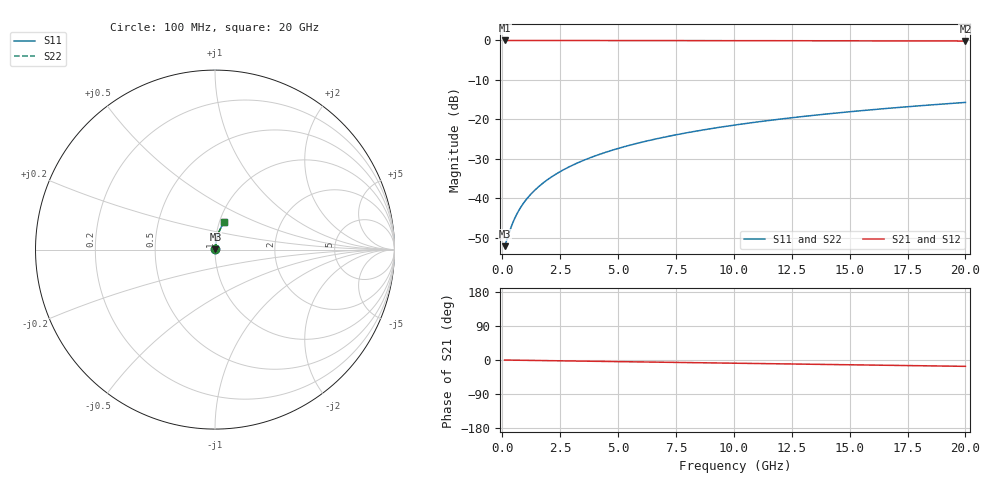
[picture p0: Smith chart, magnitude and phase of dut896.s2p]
! Touchstone file exported from HFSS 2026.1.0
!  File:  C:/ffzhzh/LocalFiles/Ansys_Project_Files/temp_train_BSMRDL_896_1783171321_22436.aedt
!  Generated:  09:23:13 PM Jul  4, 2026
!  Design:  BSMRDL
!  Project:  temp_train_BSMRDL_896_1783171321_22436
! Variables:
!  h_bsmrdl = 2.07um
!  h_ox = 20um
!  h_rdl = 5um
!  h_sub = 80um
!  h_tmrdl = 5um
!  h_tsv = 80um
!  h_via = 3um
!  l_bsmrdl = 216.33um
!  l_sub = 616.33um
!  l_tmrdl = 200um
!  m_sub = 200um
!  pitch = 37.98um
!  r_tsv = 6um
!  s_tmrdl = 10um
!  w_bsmrdl = 19.58um
!  w_sub = 500um
!  w_tmrdl = 12um
!  x_tsv_center1 = 206um
!  x_tsv_center2 = 441.91um
!  x_tsv_center3 = 653.91um
!  x_tsv_center4 = 889.82um
!  x_tsv_center5 = 1101.82um
!  x_tsv_center6 = 1337.73um
# GHz S MA R 50.000000
! Terminal data exported
! Port[1] = BSM_RDL1_1_T1
! Port[2] = BSM_RDL1_1_T2
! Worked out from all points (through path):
!   200 points, 100 MHz to 20 GHz, reference 50 ohm
!   highest |S21| = -0.02 dB at 100 MHz (marker M1); lowest = -0.2 dB at 20 GHz (marker M2)
!   group delay of S21, straight-line fit = 2.33 ps
!   lowest |S11| = -52.2 dB at 100 MHz (marker M3), VSWR 1.00, Z = 50.2 + j0.0954 ohm
!   |S11| at or under -10 dB: start of sweep to end of sweep
!   |S22| runs from -52.2 to -15.7 dB; largest |S21 - S12| = 2.6e-15
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0.1  0.002465 22.7  0.9977 -0.1  0.9977 -0.1  0.002465 22.7
! Gamma 0 0 0 0
! Port Impedance 50 0 50 0
0.4  0.004453 56.6  0.9976 -0.4  0.9976 -0.4  0.004453 56.6
0.5  0.005254 61.2  0.9975 -0.4  0.9975 -0.4  0.005254 61.2
0.6  0.006066 64.5  0.9974 -0.5  0.9974 -0.5  0.006066 64.5
0.7  0.006882 67.0  0.9974 -0.6  0.9974 -0.6  0.006882 67.0
0.9  0.008513 70.5  0.9972 -0.8  0.9972 -0.8  0.008513 70.5
1.2  0.01096 73.9  0.9971 -1.0  0.9971 -1.0  0.01096 73.9
1.4  0.0126 75.5  0.997 -1.2  0.997 -1.2  0.0126 75.5
1.7  0.01507 77.2  0.9969 -1.5  0.9969 -1.5  0.01507 77.2
2.2  0.01922 79.0  0.9968 -1.9  0.9968 -1.9  0.01922 79.0
2.8  0.02422 80.2  0.9966 -2.4  0.9966 -2.4  0.02422 80.2
3.5  0.03009 81.0  0.9964 -3.0  0.9964 -3.0  0.03009 80.9
4.2  0.03596 81.2  0.9961 -3.6  0.9961 -3.6  0.03596 81.2
5  0.04268 81.2  0.9958 -4.3  0.9958 -4.3  0.04268 81.2
5.9  0.05021 81.0  0.9953 -5.0  0.9953 -5.0  0.05021 81.0
6.8  0.05773 80.7  0.9948 -5.8  0.9948 -5.8  0.05773 80.7
8.3  0.0702 79.9  0.9938 -7.1  0.9938 -7.1  0.0702 79.8
10.1  0.08504 78.7  0.9923 -8.6  0.9923 -8.6  0.08504 78.7
11.7  0.0981 77.6  0.9908 -9.9  0.9908 -9.9  0.0981 77.5
13.4  0.1118 76.3  0.9891 -11.3  0.9891 -11.3  0.1118 76.3
16.7  0.138 73.8  0.9852 -14.1  0.9852 -14.1  0.138 73.8
20  0.1635 71.2  0.9807 -16.8  0.9807 -16.8  0.1635 71.2
